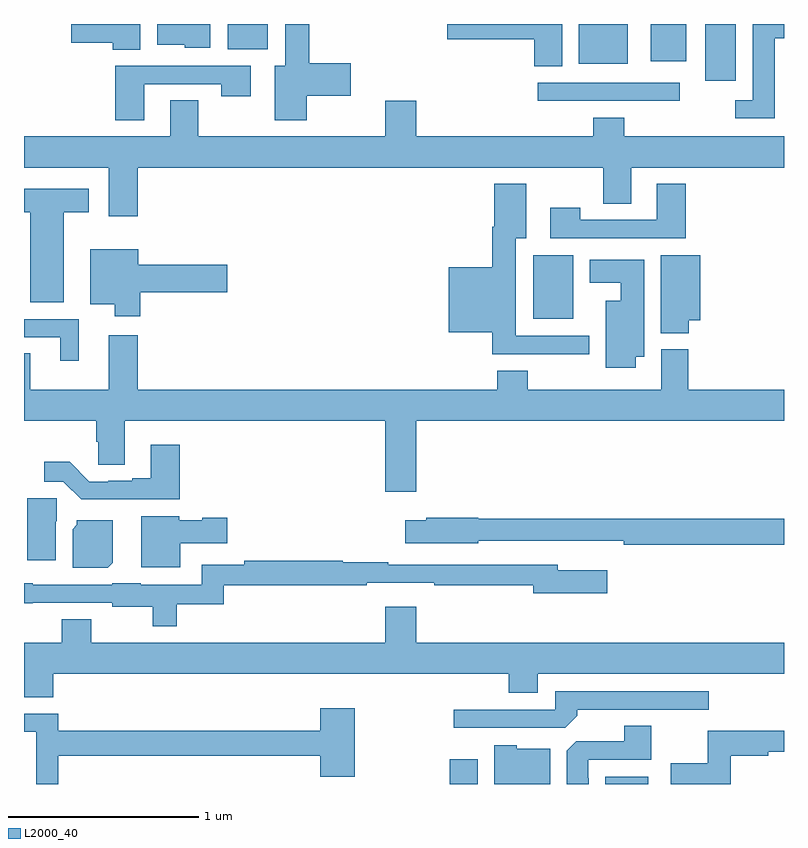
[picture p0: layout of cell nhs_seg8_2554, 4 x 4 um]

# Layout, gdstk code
import gdstk
lib = gdstk.Library(unit=1e-6, precision=1e-09)
def R(c, l, rs):  # rectangles x0, y0, x1, y1
    for r in rs: c.add(gdstk.rectangle(r[:2], r[2:], *l))
def P(c, l, *ps):  # polygons
    for p in ps: c.add(gdstk.Polygon(p, *l))
L2000_40 = (2000, 40)

nhs_seg8_2554 = lib.new_cell('nhs_seg8_2554')
R(nhs_seg8_2554, L2000_40, [(273.242,1135.9,273.388,1136.029), (274.058,1135.9,274.285,1135.939), (273.68,1138.349,273.892,1138.684), (273.705,1139.496,274.45,1139.592), (274.586,1139.601,274.747,1139.9), (273.92,1139.69,274.177,1139.9), (274.298,1139.705,274.486,1139.9), (272.072,1139.768,272.284,1139.9)])
P(nhs_seg8_2554, L2000_40, [(271.612,1139.9),(271.248,1139.9),(271.248,1139.801),(271.466,1139.801),(271.466,1139.764),(271.612,1139.764)],
  [(271.981,1139.9),(271.7,1139.9),(271.7,1139.792),(271.845,1139.792),(271.845,1139.774),(271.981,1139.774)],
  [(272.488,1139.522),(272.719,1139.522),(272.719,1139.693),(272.501,1139.693),(272.501,1139.9),(272.375,1139.9),(272.375,1139.68),(272.321,1139.68),(272.321,1139.394),(272.488,1139.394)],
  [(273.832,1139.9),(273.228,1139.9),(273.228,1139.819),(273.686,1139.819),(273.686,1139.677),(273.832,1139.677)],
  [(274.952,1139.824),(275,1139.824),(275,1139.9),(274.836,1139.9),(274.836,1139.499),(274.743,1139.499),(274.743,1139.403),(274.952,1139.403)],
  [(271.633,1139.583),(272.038,1139.583),(272.038,1139.52),(272.194,1139.52),(272.194,1139.679),(271.481,1139.679),(271.481,1139.394),(271.633,1139.394)],
  [(271.598,1139.144),(274.048,1139.144),(274.048,1138.954),(274.195,1138.954),(274.195,1139.144),(275,1139.144),(275,1139.308),(274.16,1139.308),(274.16,1139.407),(273.995,1139.407),(273.995,1139.308),(273.064,1139.308),(273.064,1139.497),(272.9,1139.497),(272.9,1139.308),(271.917,1139.308),(271.917,1139.498),(271.769,1139.498),(271.769,1139.308),(271,1139.308),(271,1139.144),(271.445,1139.144),(271.445,1138.887),(271.598,1138.887)],
  [(273.976,1138.26),(273.589,1138.26),(273.589,1138.772),(273.643,1138.772),(273.643,1139.059),(273.476,1139.059),(273.476,1138.832),(273.464,1138.832),(273.464,1138.621),(273.236,1138.621),(273.236,1138.277),(273.464,1138.277),(273.464,1138.163),(273.976,1138.163)],
  [(274.484,1139.059),(274.331,1139.059),(274.331,1138.869),(273.927,1138.869),(273.927,1138.933),(273.771,1138.933),(273.771,1138.773),(274.484,1138.773)],
  [(271.21,1138.91),(271.342,1138.91),(271.342,1139.032),(271,1139.032),(271,1138.91),(271.034,1138.91),(271.034,1138.436),(271.21,1138.436)],
  [(271.613,1138.487),(272.071,1138.487),(272.071,1138.634),(271.6,1138.634),(271.6,1138.714),(271.349,1138.714),(271.349,1138.424),(271.478,1138.424),(271.478,1138.362),(271.613,1138.362)],
  [(274.499,1138.34),(274.558,1138.34),(274.558,1138.684),(274.352,1138.684),(274.352,1138.273),(274.499,1138.273)],
  [(274.219,1138.148),(274.264,1138.148),(274.264,1138.66),(273.977,1138.66),(273.977,1138.538),(274.142,1138.538),(274.142,1138.444),(274.061,1138.444),(274.061,1138.092),(274.219,1138.092)],
  [(271.288,1138.347),(271,1138.347),(271,1138.251),(271.19,1138.251),(271.19,1138.128),(271.288,1138.128)],
  [(273.064,1137.812),(275,1137.812),(275,1137.976),(274.496,1137.976),(274.496,1138.188),(274.355,1138.188),(274.355,1137.976),(273.651,1137.976),(273.651,1138.075),(273.491,1138.075),(273.491,1137.976),(271.598,1137.976),(271.598,1138.261),(271.445,1138.261),(271.445,1137.976),(271.033,1137.976),(271.033,1138.166),(271,1138.166),(271,1137.812),(271.379,1137.812),(271.379,1137.702),(271.392,1137.702),(271.392,1137.58),(271.531,1137.58),(271.531,1137.812),(272.9,1137.812),(272.9,1137.438),(273.064,1137.438)],
  [(271.82,1137.685),(271.667,1137.685),(271.667,1137.508),(271.571,1137.508),(271.571,1137.495),(271.444,1137.495),(271.444,1137.492),(271.344,1137.492),(271.242,1137.595),(271.107,1137.595),(271.107,1137.492),(271.206,1137.492),(271.3,1137.398),(271.82,1137.398)],
  [(271.168,1137.282),(271.172,1137.282),(271.172,1137.405),(271.016,1137.405),(271.016,1137.078),(271.168,1137.078)],
  [(271.822,1137.167),(272.071,1137.167),(272.071,1137.302),(271.938,1137.302),(271.938,1137.289),(271.818,1137.289),(271.818,1137.31),(271.616,1137.31),(271.616,1137.041),(271.822,1137.041)],
  [(275,1137.296),(273.39,1137.296),(273.39,1137.302),(273.118,1137.302),(273.118,1137.289),(273.006,1137.289),(273.006,1137.167),(273.39,1137.167),(273.39,1137.18),(273.904,1137.18),(273.904,1137.179),(274.156,1137.179),(274.156,1137.16),(275,1137.16)],
  [(271.468,1137.064),(271.468,1137.289),(271.278,1137.289),(271.278,1137.264),(271.256,1137.242),(271.256,1137.038),(271.442,1137.038)],
  [(271.805,1136.846),(272.051,1136.846),(272.051,1136.946),(272.804,1136.946),(272.804,1136.958),(273.16,1136.958),(273.16,1136.946),(273.68,1136.946),(273.68,1136.903),(274.069,1136.903),(274.069,1137.025),(273.808,1137.025),(273.808,1137.054),(272.918,1137.054),(272.918,1137.067),(272.678,1137.067),(272.678,1137.074),(272.158,1137.074),(272.158,1137.054),(271.935,1137.054),(271.935,1136.95),(271.614,1136.95),(271.614,1136.956),(271.464,1136.956),(271.464,1136.949),(271.047,1136.949),(271.047,1136.956),(271,1136.956),(271,1136.852),(271.047,1136.852),(271.047,1136.853),(271.464,1136.853),(271.464,1136.834),(271.677,1136.834),(271.677,1136.729),(271.805,1136.729)],
  [(271.154,1136.48),(273.551,1136.48),(273.551,1136.381),(273.703,1136.381),(273.703,1136.48),(275,1136.48),(275,1136.644),(273.064,1136.644),(273.064,1136.833),(272.9,1136.833),(272.9,1136.644),(271.353,1136.644),(271.353,1136.768),(271.198,1136.768),(271.198,1136.644),(271,1136.644),(271,1136.356),(271.154,1136.356)],
  [(273.911,1136.258),(273.911,1136.292),(274.603,1136.292),(274.603,1136.388),(273.795,1136.388),(273.795,1136.292),(273.261,1136.292),(273.261,1136.196),(273.849,1136.196)],
  [(271.181,1136.05),(272.558,1136.05),(272.558,1135.938),(272.741,1135.938),(272.741,1136.299),(272.558,1136.299),(272.558,1136.179),(271.181,1136.179),(271.181,1136.271),(271,1136.271),(271,1136.174),(271.065,1136.174),(271.065,1135.9),(271.181,1135.9)],
  [(273.973,1135.931),(273.969,1135.931),(273.969,1136.028),(274.3,1136.028),(274.3,1136.207),(274.16,1136.207),(274.16,1136.124),(273.906,1136.124),(273.857,1136.075),(273.857,1135.9),(273.973,1135.9)],
  [(274.719,1136.05),(274.916,1136.05),(274.916,1136.07),(275,1136.07),(275,1136.179),(274.598,1136.179),(274.598,1136.008),(274.404,1136.008),(274.404,1135.9),(274.719,1135.9)],
  [(273.769,1136.086),(273.594,1136.086),(273.594,1136.104),(273.476,1136.104),(273.476,1135.9),(273.769,1135.9)])

lib.write_gds('nhs_seg8_2554.gds')
